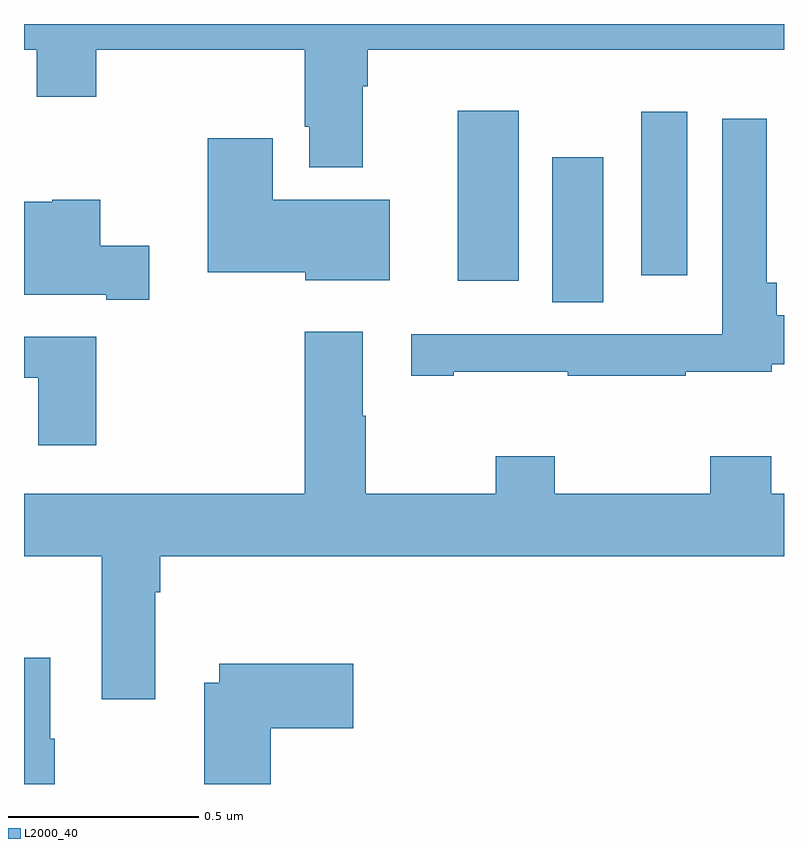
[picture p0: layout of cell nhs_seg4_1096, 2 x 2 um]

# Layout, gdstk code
import gdstk
lib = gdstk.Library(unit=1e-6, precision=1e-09)
def R(c, l, rs):  # rectangles x0, y0, x1, y1
    for r in rs: c.add(gdstk.rectangle(r[:2], r[2:], *l))
def P(c, l, *ps):  # polygons
    for p in ps: c.add(gdstk.Polygon(p, *l))
L2000_40 = (2000, 40)

nhs_seg4_1096 = lib.new_cell('nhs_seg4_1096')
R(nhs_seg4_1096, L2000_40, [(125.39,784.168,125.524,784.549), (125.141,784.224,125.302,784.672), (125.624,784.239,125.746,784.669)])
P(nhs_seg4_1096, L2000_40, [(124.891,784.736),(124.904,784.736),(124.904,784.832),(126,784.832),(126,784.9),(124,784.9),(124,784.832),(124.033,784.832),(124.033,784.708),(124.19,784.708),(124.19,784.832),(124.739,784.832),(124.739,784.63),(124.751,784.63),(124.751,784.523),(124.891,784.523)],
  [(125.131,783.985),(125.431,783.985),(125.431,783.975),(125.741,783.975),(125.741,783.985),(125.968,783.985),(125.968,784.005),(126,784.005),(126,784.133),(125.981,784.133),(125.981,784.219),(125.954,784.219),(125.954,784.651),(125.838,784.651),(125.838,784.084),(125.628,784.084),(125.628,784.083),(125.294,784.083),(125.294,784.084),(125.019,784.084),(125.019,783.975),(125.131,783.975)],
  [(124.963,784.438),(124.654,784.438),(124.654,784.6),(124.484,784.6),(124.484,784.247),(124.74,784.247),(124.74,784.226),(124.963,784.226)],
  [(124.33,784.317),(124.2,784.317),(124.2,784.438),(124.074,784.438),(124.074,784.432),(124,784.432),(124,784.187),(124.217,784.187),(124.217,784.175),(124.33,784.175)],
  [(124.345,783.404),(124.358,783.404),(124.358,783.5),(126,783.5),(126,783.664),(125.966,783.664),(125.966,783.763),(125.806,783.763),(125.806,783.664),(125.397,783.664),(125.397,783.763),(125.242,783.763),(125.242,783.664),(124.899,783.664),(124.899,783.869),(124.891,783.869),(124.891,784.09),(124.739,784.09),(124.739,783.664),(124,783.664),(124,783.5),(124.205,783.5),(124.205,783.123),(124.345,783.123)],
  [(124.19,784.077),(124,784.077),(124,783.969),(124.037,783.969),(124.037,783.792),(124.19,783.792)],
  [(124.081,783.019),(124.069,783.019),(124.069,783.232),(124,783.232),(124,782.9),(124.081,782.9)],
  [(124.649,783.047),(124.867,783.047),(124.867,783.217),(124.514,783.217),(124.514,783.166),(124.474,783.166),(124.474,782.9),(124.649,782.9)])

lib.write_gds('nhs_seg4_1096.gds')
